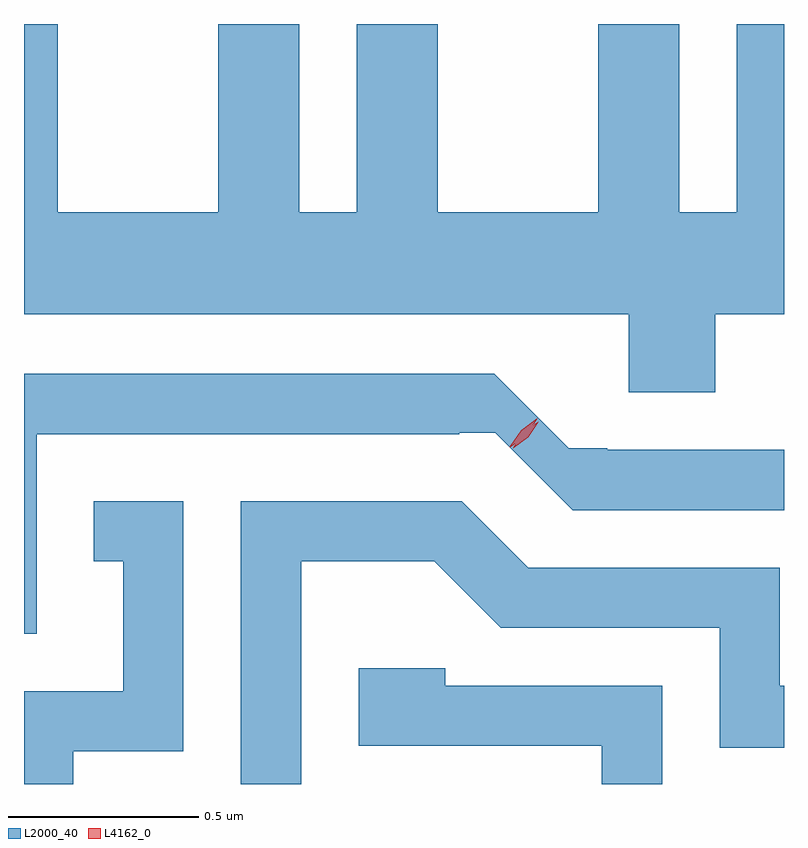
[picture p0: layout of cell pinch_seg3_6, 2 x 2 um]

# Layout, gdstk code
import gdstk
lib = gdstk.Library(unit=1e-6, precision=1e-09)
def P(c, l, *ps):  # polygons
    for p in ps: c.add(gdstk.Polygon(p, *l))
L2000_40 = (2000, 40)
L4162_0 = (4162, 0)

pinch_seg3_6 = lib.new_cell('pinch_seg3_6')
P(pinch_seg3_6, L2000_40, [(824.419,1192.616),(824.6,1192.616),(824.6,1193.38),(824.476,1193.38),(824.476,1192.884),(824.324,1192.884),(824.324,1193.38),(824.111,1193.38),(824.111,1192.884),(823.689,1192.884),(823.689,1193.38),(823.476,1193.38),(823.476,1192.884),(823.324,1192.884),(823.324,1193.38),(823.111,1193.38),(823.111,1192.884),(822.689,1192.884),(822.689,1193.38),(822.6,1193.38),(822.6,1192.616),(824.191,1192.616),(824.191,1192.411),(824.419,1192.411)],
  [(822.634,1192.301),(823.745,1192.301),(823.745,1192.305),(823.84,1192.305),(824.044,1192.101),(824.6,1192.101),(824.6,1192.259),(824.135,1192.259),(824.135,1192.263),(824.033,1192.263),(823.837,1192.459),(822.6,1192.459),(822.6,1191.776),(822.634,1191.776)],
  [(822.729,1191.466),(823.019,1191.466),(823.019,1192.124),(822.783,1192.124),(822.783,1191.966),(822.861,1191.966),(822.861,1191.624),(822.6,1191.624),(822.6,1191.38),(822.729,1191.38)],
  [(823.329,1191.966),(823.679,1191.966),(823.854,1191.791),(824.431,1191.791),(824.431,1191.476),(824.6,1191.476),(824.6,1191.639),(824.589,1191.639),(824.589,1191.949),(823.927,1191.949),(823.752,1192.124),(823.171,1192.124),(823.171,1191.38),(823.329,1191.38)],
  [(824.279,1191.639),(823.709,1191.639),(823.709,1191.684),(823.481,1191.684),(823.481,1191.481),(824.121,1191.481),(824.121,1191.38),(824.279,1191.38)])
P(pinch_seg3_6, L4162_0, [(823.878,1192.266),(823.878,1192.267),(823.908,1192.311),(823.951,1192.342),(823.951,1192.342),(823.951,1192.341),(823.922,1192.297),(823.879,1192.266)],
  [(823.887,1192.264),(823.887,1192.265),(823.913,1192.305),(823.953,1192.333),(823.953,1192.333),(823.953,1192.332),(823.927,1192.292),(823.888,1192.264)])

lib.write_gds('pinch_seg3_6.gds')
